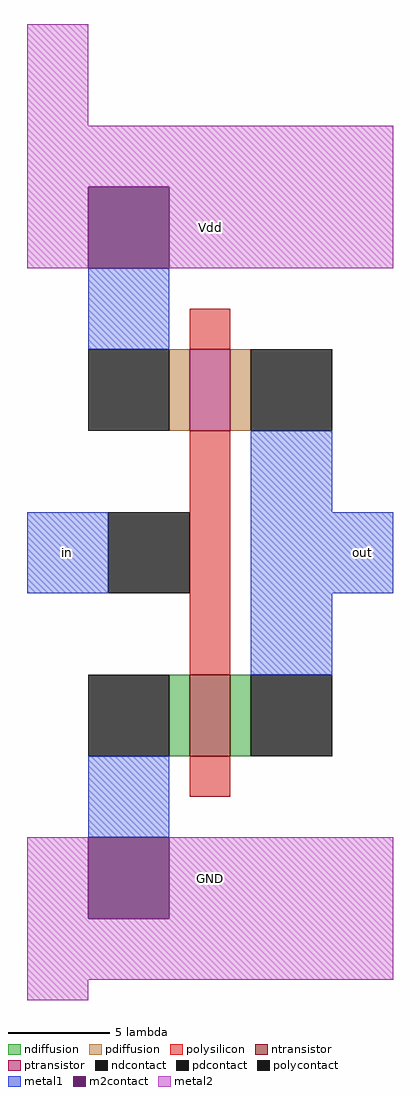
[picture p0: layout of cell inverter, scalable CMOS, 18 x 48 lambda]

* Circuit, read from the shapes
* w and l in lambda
.subckt inverter GND Vdd in out
M1 out in GND VSUBS nfet w=4 l=2
M2 out in Vdd NWELL pfet w=4 l=2
.ends

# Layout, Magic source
magic
tech scmos
<< ntransistor >>
rect 8 7 10 11
<< ptransistor >>
rect 8 23 10 27
<< ndiffusion >>
rect 7 7 8 11
rect 10 7 11 11
<< pdiffusion >>
rect 7 23 8 27
rect 10 23 11 27
<< ndcontact >>
rect 3 7 7 11
rect 11 7 15 11
<< pdcontact >>
rect 3 23 7 27
rect 11 23 15 27
<< polysilicon >>
rect 8 27 10 29
rect 8 11 10 23
rect 8 5 10 7
<< polycontact >>
rect 4 15 8 19
<< metal1 >>
rect 3 27 7 31
rect 11 19 15 23
rect 0 15 4 19
rect 11 15 18 19
rect 11 11 15 15
rect 3 3 7 7
<< m2contact >>
rect 3 31 7 35
rect 3 -1 7 3
<< metal2 >>
rect 0 38 3 43
rect 0 35 18 38
rect 0 31 3 35
rect 7 31 18 35
rect 0 -1 3 3
rect 7 -1 18 3
rect 0 -4 18 -1
rect 0 -5 3 -4
<< labels >>
rlabel metal1 15 15 18 19 7 out
rlabel metal2 0 31 18 35 5 Vdd
rlabel metal2 0 -1 18 3 1 GND
rlabel metal1 0 15 4 19 3 in
<< end >>
